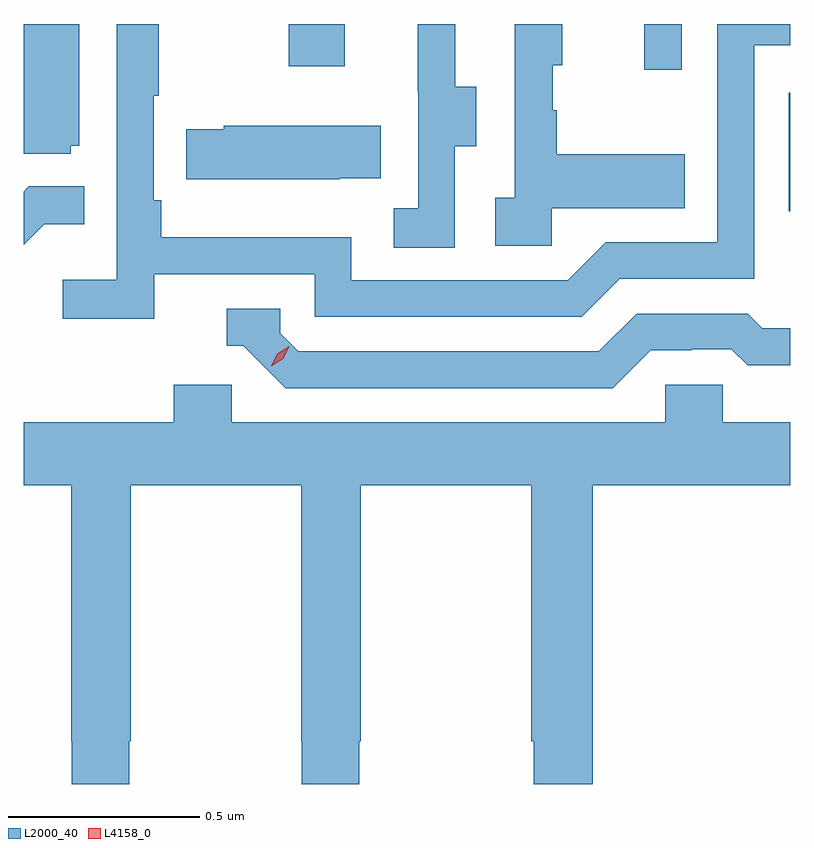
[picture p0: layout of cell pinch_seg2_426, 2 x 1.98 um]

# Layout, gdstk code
import gdstk
lib = gdstk.Library(unit=1e-6, precision=1e-09)
def R(c, l, rs):  # rectangles x0, y0, x1, y1
    for r in rs: c.add(gdstk.rectangle(r[:2], r[2:], *l))
def P(c, l, *ps):  # polygons
    for p in ps: c.add(gdstk.Polygon(p, *l))
L2000_40 = (2000, 40)
L4158_0 = (4158, 0)

pinch_seg2_426 = lib.new_cell('pinch_seg2_426')
R(pinch_seg2_426, L2000_40, [(999.63,616.383,999.635,616.692), (999.254,616.752,999.351,616.871), (998.326,616.761,998.473,616.871)])
P(pinch_seg2_426, L2000_40, [(999.012,616.391),(999.359,616.391),(999.359,616.531),(999.025,616.531),(999.025,616.646),(999.015,616.646),(999.015,616.764),(999.04,616.764),(999.04,616.871),(998.916,616.871),(998.916,616.418),(998.865,616.418),(998.865,616.293),(999.012,616.293)],
  [(997.758,616.554),(997.78,616.554),(997.78,616.871),(997.635,616.871),(997.635,616.533),(997.758,616.533)],
  [(998.76,616.552),(998.815,616.552),(998.815,616.707),(998.761,616.707),(998.761,616.871),(998.663,616.871),(998.663,616.695),(998.664,616.695),(998.664,616.391),(998.601,616.391),(998.601,616.288),(998.76,616.288)],
  [(997.976,616.218),(998.394,616.218),(998.394,616.107),(999.091,616.107),(999.19,616.206),(999.54,616.206),(999.54,616.815),(999.635,616.815),(999.635,616.871),(999.444,616.871),(999.444,616.302),(999.153,616.302),(999.054,616.203),(998.49,616.203),(998.49,616.315),(997.994,616.315),(997.994,616.411),(997.974,616.411),(997.974,616.684),(997.987,616.684),(997.987,616.871),(997.878,616.871),(997.878,616.204),(997.737,616.204),(997.737,616.102),(997.976,616.102)],
  [(998.459,616.469),(998.567,616.469),(998.567,616.606),(998.157,616.606),(998.157,616.596),(998.059,616.596),(998.059,616.466),(998.459,616.466)],
  [(997.689,616.349),(997.793,616.349),(997.793,616.448),(997.649,616.448),(997.635,616.434),(997.635,616.295)],
  [(999.271,616.02),(999.378,616.02),(999.378,616.023),(999.481,616.023),(999.523,615.981),(999.635,615.981),(999.635,616.077),(999.562,616.077),(999.523,616.116),(999.234,616.116),(999.135,616.017),(998.352,616.017),(998.304,616.065),(998.304,616.128),(998.165,616.128),(998.165,616.032),(998.208,616.032),(998.319,615.921),(999.172,615.921)],
  [(998.359,615.001),(998.361,615.001),(998.361,614.889),(998.511,614.889),(998.511,615.001),(998.514,615.001),(998.514,615.668),(998.959,615.668),(998.959,615.001),(998.965,615.001),(998.965,614.889),(999.119,614.889),(999.119,615.668),(999.635,615.668),(999.635,615.832),(999.459,615.832),(999.459,615.93),(999.309,615.93),(999.309,615.832),(998.178,615.832),(998.178,615.93),(998.027,615.93),(998.027,615.832),(997.635,615.832),(997.635,615.668),(997.759,615.668),(997.759,615.001),(997.761,615.001),(997.761,614.889),(997.911,614.889),(997.911,615.001),(997.914,615.001),(997.914,615.668),(998.359,615.668)])
P(pinch_seg2_426, L4158_0, [(998.281,615.979),(998.281,615.979),(998.297,616.011),(998.328,616.031),(998.328,616.031),(998.328,616.03),(998.312,615.998),(998.281,615.979)])

lib.write_gds('pinch_seg2_426.gds')
